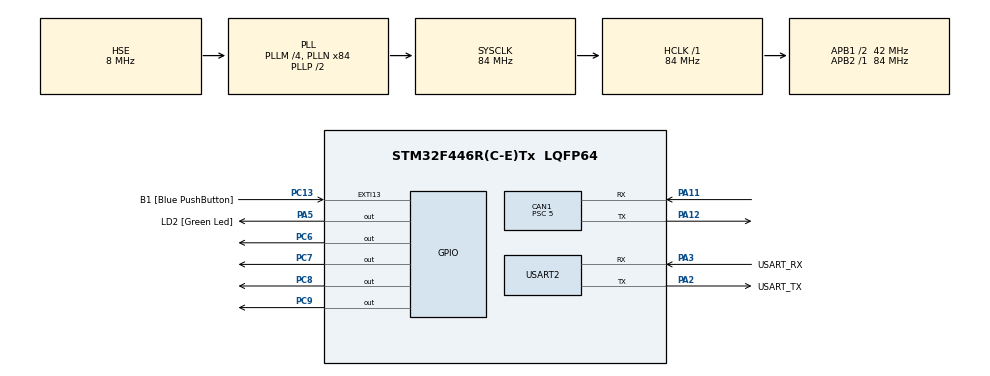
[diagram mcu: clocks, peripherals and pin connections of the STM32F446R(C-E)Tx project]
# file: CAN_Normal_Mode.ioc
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CAN1.ABOM=ENABLE
CAN1.BS1=CAN_BS1_8TQ
CAN1.CalculateBaudRate=839999
CAN1.CalculateTimeBit=1190
CAN1.CalculateTimeQuantum=119.04761904761905
CAN1.NART=ENABLE
CAN1.Prescaler=5
Mcu.Family=STM32F4
Mcu.Name=STM32F446R(C-E)Tx
Mcu.Package=LQFP64
NVIC.CAN1_RX0_IRQn=true\:0\:0\:false\:false\:true\:true\:true\:true
NVIC.CAN1_RX1_IRQn=true\:0\:0\:false\:false\:true\:true\:true\:true
NVIC.CAN1_SCE_IRQn=true\:0\:0\:false\:false\:true\:true\:true\:true
NVIC.CAN1_TX_IRQn=true\:0\:0\:false\:false\:true\:true\:true\:true
NVIC.EXTI15_10_IRQn=true\:0\:0\:false\:false\:true\:true\:true\:true
NVIC.PriorityGroup=NVIC_PRIORITYGROUP_0
NVIC.TIM6_DAC_IRQn=true\:0\:0\:false\:false\:true\:true\:true\:true
PA11.Mode=CAN_Activate
PA11.Signal=CAN1_RX
PA12.Mode=CAN_Activate
PA12.Signal=CAN1_TX
PA13.GPIO_Label=TMS
PA13.Signal=SYS_JTMS-SWDIO
PA14.GPIO_Label=TCK
PA14.Signal=SYS_JTCK-SWCLK
PA2.GPIO_Label=USART_TX
PA2.Mode=Asynchronous
PA2.Signal=USART2_TX
PA3.GPIO_Label=USART_RX
PA3.Mode=Asynchronous
PA3.Signal=USART2_RX
PA5.GPIO_Label=LD2 [Green Led]
PA5.Signal=GPIO_Output
PB3.GPIO_Label=SWO
PB3.Signal=SYS_JTDO-SWO
PC13.GPIO_Label=B1 [Blue PushButton]
PC13.GPIO_ModeDefaultEXTI=GPIO_MODE_IT_FALLING
PC13.Signal=GPXTI13
PC14-OSC32_IN.Signal=RCC_OSC32_IN
PC15-OSC32_OUT.Signal=RCC_OSC32_OUT
PC6.Signal=GPIO_Output
PC7.Signal=GPIO_Output
PC8.Signal=GPIO_Output
PC9.Signal=GPIO_Output
PH0-OSC_IN.Signal=RCC_OSC_IN
PH1-OSC_OUT.Signal=RCC_OSC_OUT
ProjectManager.HeapSize=0x200
ProjectManager.StackSize=0x400
ProjectManager.TargetToolchain=STM32CubeIDE
RCC.AHBFreq_Value=84000000
RCC.APB1CLKDivider=RCC_HCLK_DIV2
RCC.APB1Freq_Value=42000000
RCC.APB1TimFreq_Value=84000000
RCC.APB2Freq_Value=84000000
RCC.APB2TimFreq_Value=84000000
RCC.CortexFreq_Value=84000000
RCC.FLatency-AdvancedSettings=FLASH_LATENCY_2
RCC.HCLKFreq_Value=84000000
RCC.HSE_VALUE=8000000
RCC.HSI_VALUE=16000000
RCC.LSE_VALUE=32768
RCC.PLLN=336
RCC.PLLP=RCC_PLLP_DIV4
RCC.SYSCLKFreq_VALUE=84000000
RCC.SYSCLKSource=RCC_SYSCLKSOURCE_PLLCLK
RCC.USBFreq_Value=168000000
RCC.VCOOutputFreq_Value=336000000
USART2.VirtualMode=VM_ASYNC
VP_TIM6_VS_ClockSourceINT.Mode=Enable_Timer
board=NUCLEO-F446RE

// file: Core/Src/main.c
/* USER CODE BEGIN Header */
/**
  ******************************************************************************
  * @file           : main.c
  * @brief          : Main program body
  ******************************************************************************
  * @attention
  *
  * Copyright (c) 2024 STMicroelectronics.
  * All rights reserved.
  *
  * This software is licensed under terms that can be found in the LICENSE file
  * in the root directory of this software component.
  * If no LICENSE file comes with this software, it is provided AS-IS.
  *
  ******************************************************************************
  */
/* USER CODE END Header */
#include "main.h"

CAN_HandleTypeDef hcan1;

TIM_HandleTypeDef htim6;

UART_HandleTypeDef huart2;

uint8_t led_num = 0;

void SystemClock_Config(void);
static void MX_GPIO_Init(void);
static void MX_CAN1_Init(void);
static void MX_USART2_UART_Init(void);
static void MX_TIM6_Init(void);
void CAN_Filter_Config(void);
void CAN1_Tx(void);

int main(void)
{

  /* MCU Configuration--------------------------------------------------------*/

  /* Reset of all peripherals, Initializes the Flash interface and the Systick. */
  HAL_Init();

  /* Configure the system clock */
  SystemClock_Config();

  /* Initialize all configured peripherals */
  MX_GPIO_Init();
  MX_CAN1_Init();
  MX_USART2_UART_Init();
  MX_TIM6_Init();
  /* USER CODE BEGIN 2 */

  CAN_Filter_Config();

  if (HAL_CAN_ActivateNotification(&hcan1, CAN_IT_TX_MAILBOX_EMPTY | CAN_IT_BUSOFF | CAN_IT_RX_FIFO0_MSG_PENDING) != HAL_OK) {
	  Error_Handler();
  }

  if (HAL_CAN_Start(&hcan1) != HAL_OK) {
	  Error_Handler();
  }

  /* USER CODE END 2 */

  /* Infinite loop */
  while (1)
  {

  }
}

void SystemClock_Config(void)
{
  RCC_OscInitTypeDef RCC_OscInitStruct = {0};
  RCC_ClkInitTypeDef RCC_ClkInitStruct = {0};

  /** Configure the main internal regulator output voltage
  */
  __HAL_RCC_PWR_CLK_ENABLE();
  __HAL_PWR_VOLTAGESCALING_CONFIG(PWR_REGULATOR_VOLTAGE_SCALE3);

  /** Initializes the RCC Oscillators according to the specified parameters
  * in the RCC_OscInitTypeDef structure.
  */
  RCC_OscInitStruct.OscillatorType = RCC_OSCILLATORTYPE_HSE;
  RCC_OscInitStruct.HSEState = RCC_HSE_ON;
  //RCC_OscInitStruct.HSICalibrationValue = RCC_HSICALIBRATION_DEFAULT;
  RCC_OscInitStruct.PLL.PLLState = RCC_PLL_ON;
  RCC_OscInitStruct.PLL.PLLSource = RCC_PLLSOURCE_HSE;
  RCC_OscInitStruct.PLL.PLLM = 4;
  RCC_OscInitStruct.PLL.PLLN = 84;
  RCC_OscInitStruct.PLL.PLLP = RCC_PLLP_DIV2;
  RCC_OscInitStruct.PLL.PLLQ = 2;
  RCC_OscInitStruct.PLL.PLLR = 2;
  if (HAL_RCC_OscConfig(&RCC_OscInitStruct) != HAL_OK)
  {
    Error_Handler();
  }

  /** Initializes the CPU, AHB and APB buses clocks
  */
  RCC_ClkInitStruct.ClockType = RCC_CLOCKTYPE_HCLK|RCC_CLOCKTYPE_SYSCLK
                              |RCC_CLOCKTYPE_PCLK1|RCC_CLOCKTYPE_PCLK2;
  RCC_ClkInitStruct.SYSCLKSource = RCC_SYSCLKSOURCE_PLLCLK;
  RCC_ClkInitStruct.AHBCLKDivider = RCC_SYSCLK_DIV1;
  RCC_ClkInitStruct.APB1CLKDivider = RCC_HCLK_DIV2;
  RCC_ClkInitStruct.APB2CLKDivider = RCC_HCLK_DIV1;

  if (HAL_RCC_ClockConfig(&RCC_ClkInitStruct, FLASH_LATENCY_2) != HAL_OK)
  {
    Error_Handler();
  }
}

static void MX_CAN1_Init(void)
{

  hcan1.Instance = CAN1;
  hcan1.Init.Prescaler = 5;
  hcan1.Init.Mode = CAN_MODE_NORMAL;
  hcan1.Init.SyncJumpWidth = CAN_SJW_1TQ;
  hcan1.Init.TimeSeg1 = CAN_BS1_8TQ;
  hcan1.Init.TimeSeg2 = CAN_BS2_1TQ;
  hcan1.Init.TimeTriggeredMode = DISABLE;
  hcan1.Init.AutoBusOff = ENABLE;
  hcan1.Init.AutoWakeUp = DISABLE;
  hcan1.Init.AutoRetransmission = ENABLE;
  hcan1.Init.ReceiveFifoLocked = DISABLE;
  hcan1.Init.TransmitFifoPriority = DISABLE;
  if (HAL_CAN_Init(&hcan1) != HAL_OK)
  {
    Error_Handler();
  }

}

static void MX_TIM6_Init(void)
{

  TIM_MasterConfigTypeDef sMasterConfig = {0};

  htim6.Instance = TIM6;
  htim6.Init.Prescaler = 4999;
  htim6.Init.Period = 10000-1;
  htim6.Init.AutoReloadPreload = TIM_AUTORELOAD_PRELOAD_ENABLE;
  if (HAL_TIM_Base_Init(&htim6) != HAL_OK)
  {
    Error_Handler();
  }
  sMasterConfig.MasterOutputTrigger = TIM_TRGO_RESET;
  sMasterConfig.MasterSlaveMode = TIM_MASTERSLAVEMODE_DISABLE;
  if (HAL_TIMEx_MasterConfigSynchronization(&htim6, &sMasterConfig) != HAL_OK)
  {
    Error_Handler();
  }

}

static void MX_USART2_UART_Init(void)
{

  huart2.Instance = USART2;
  huart2.Init.BaudRate = 115200;
  huart2.Init.WordLength = UART_WORDLENGTH_8B;
  huart2.Init.StopBits = UART_STOPBITS_1;
  huart2.Init.Parity = UART_PARITY_NONE;
  huart2.Init.Mode = UART_MODE_TX_RX;
  huart2.Init.HwFlowCtl = UART_HWCONTROL_NONE;
  huart2.Init.OverSampling = UART_OVERSAMPLING_16;
  if (HAL_UART_Init(&huart2) != HAL_OK)
  {
    Error_Handler();
  }

}

static void MX_GPIO_Init(void)
{
  GPIO_InitTypeDef GPIO_InitStruct = {0};

  /* GPIO Ports Clock Enable */
  __HAL_RCC_GPIOC_CLK_ENABLE();
  __HAL_RCC_GPIOH_CLK_ENABLE();
  __HAL_RCC_GPIOA_CLK_ENABLE();
  __HAL_RCC_GPIOB_CLK_ENABLE();

  /*Configure GPIO pin Output Level */
  HAL_GPIO_WritePin(LD2_GPIO_Port, LD2_Pin, GPIO_PIN_RESET);

  /*Configure GPIO pin Output Level */
  HAL_GPIO_WritePin(GPIOC, GPIO_PIN_6|GPIO_PIN_7|GPIO_PIN_8|GPIO_PIN_9, GPIO_PIN_RESET);

  /*Configure GPIO pin : B1_Pin */
  GPIO_InitStruct.Pin = B1_Pin;
  GPIO_InitStruct.Mode = GPIO_MODE_IT_FALLING;
  GPIO_InitStruct.Pull = GPIO_NOPULL;
  HAL_GPIO_Init(B1_GPIO_Port, &GPIO_InitStruct);

  /*Configure GPIO pin : LD2_Pin */
  GPIO_InitStruct.Pin = LD2_Pin;
  GPIO_InitStruct.Mode = GPIO_MODE_OUTPUT_PP;
  GPIO_InitStruct.Pull = GPIO_NOPULL;
  HAL_GPIO_Init(LD2_GPIO_Port, &GPIO_InitStruct);

  /*Configure GPIO pins : PC6 PC7 PC8 PC9 */
  GPIO_InitStruct.Pin = GPIO_PIN_6|GPIO_PIN_7|GPIO_PIN_8|GPIO_PIN_9;
  GPIO_InitStruct.Mode = GPIO_MODE_OUTPUT_PP;
  GPIO_InitStruct.Pull = GPIO_NOPULL;
  HAL_GPIO_Init(GPIOC, &GPIO_InitStruct);

  /* EXTI interrupt init*/
  HAL_NVIC_SetPriority(EXTI15_10_IRQn, 0, 0);
  HAL_NVIC_EnableIRQ(EXTI15_10_IRQn);

}

/* USER CODE BEGIN 4 */
void CAN_Filter_Config(void) {
	CAN_FilterTypeDef CAN_Filter;

	CAN_Filter.FilterActivation = ENABLE;
	CAN_Filter.FilterBank  = 0;
	CAN_Filter.FilterFIFOAssignment = CAN_RX_FIFO0;
	CAN_Filter.FilterIdHigh = 0x0000;
	CAN_Filter.FilterIdLow = 0x0000;
	CAN_Filter.FilterMaskIdHigh = 0X0000;
	CAN_Filter.FilterMaskIdLow = 0x0000;
	CAN_Filter.FilterMode = CAN_FILTERMODE_IDMASK;
	CAN_Filter.FilterScale = CAN_FILTERSCALE_32BIT;

	if( HAL_CAN_ConfigFilter(&hcan1,&CAN_Filter) != HAL_OK)
	{
		Error_Handler();
	}
}
void CAN1_Tx(void) {
	CAN_TxHeaderTypeDef TxHeader;

	uint32_t TxMailBox;

	uint8_t message;

	TxHeader.DLC = 1;
	TxHeader.StdId = 0x111;
	TxHeader.IDE = CAN_ID_STD;
	TxHeader.RTR = CAN_RTR_DATA;

	message = ++led_num;

	if (led_num == 4) {
		led_num = 0;
	}

	HAL_GPIO_TogglePin(LD2_GPIO_Port, LD2_Pin);

	if (HAL_CAN_AddTxMessage(&hcan1, &TxHeader, &message, &TxMailBox) != HAL_OK) {
		Error_Handler();
	}
}

///CALLBACKS

void HAL_CAN_TxMailbox0CompleteCallback(CAN_HandleTypeDef *hcan)
{
	uint8_t msg0[] = "Message Transmitted:M0\r\n";
	HAL_UART_Transmit(&huart2, msg0, sizeof(msg0),HAL_MAX_DELAY);

}

void HAL_CAN_TxMailbox1CompleteCallback(CAN_HandleTypeDef *hcan)
{
	uint8_t msg1[] = "Message Transmitted:M1\r\n";
	HAL_UART_Transmit(&huart2,msg1,sizeof(msg1),HAL_MAX_DELAY);

}

void HAL_CAN_TxMailbox2CompleteCallback(CAN_HandleTypeDef *hcan)
{
	uint8_t msg2[] = "Message Transmitted:M2\r\n";
	HAL_UART_Transmit(&huart2,msg2,sizeof(msg2),HAL_MAX_DELAY);

}

void HAL_TIM_PeriodElapsedCallback(TIM_HandleTypeDef *htim) {
	CAN1_Tx();
}
/* USER CODE END 4 */

void Error_Handler(void)
{
  __disable_irq();
  while (1)
  {
  }
}
